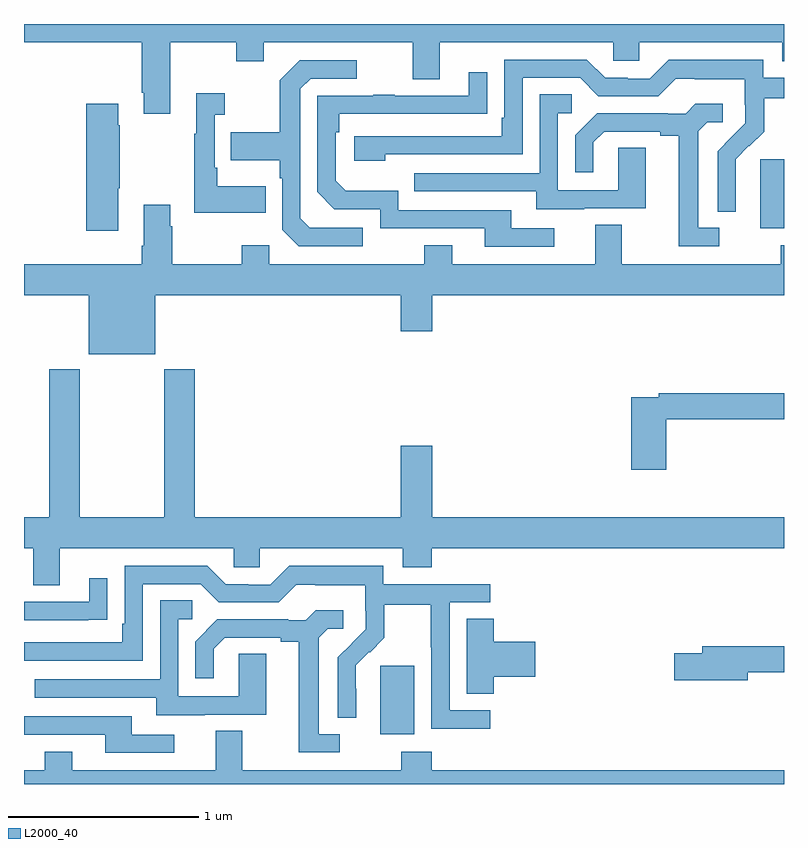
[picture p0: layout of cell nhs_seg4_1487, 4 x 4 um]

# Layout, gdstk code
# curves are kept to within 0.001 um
import gdstk
lib = gdstk.Library(unit=1e-6, precision=1e-09)
def R(c, l, rs):  # rectangles x0, y0, x1, y1
    for r in rs: c.add(gdstk.rectangle(r[:2], r[2:], *l))
def P(c, l, *ps):  # polygons
    for p in ps: c.add(gdstk.Polygon(p, *l))
L2000_40 = (2000, 40)

nhs_seg4_1487 = lib.new_cell('nhs_seg4_1487')
R(nhs_seg4_1487, L2000_40, [(188.876,809.162,189.055,809.523), (190.874,811.826,191,812.187)])
P(nhs_seg4_1487, L2000_40, [(187,812.804),(187.619,812.804),(187.619,812.539),(187.631,812.539),(187.631,812.427),(187.771,812.427),(187.771,812.804),(188.116,812.804),(188.116,812.705),(188.263,812.705),(188.263,812.804),(189.047,812.804),(189.047,812.61),(189.187,812.61),(189.187,812.804),(190.101,812.804),(190.101,812.706),(190.239,812.706),(190.239,812.804),(190.991,812.804),(190.991,812.705),(191,812.705),(191,812.9),(187,812.9)],
  [(190.746,812.066),(190.745,812.189),(190.815,812.259),(190.818,812.256),(190.895,812.333),(190.895,812.508),(191,812.508),(191,812.616),(190.89,812.616),(190.89,812.713),(190.393,812.713),(190.293,812.613),(190.178,812.613),(190.178,812.616),(190.059,812.616),(189.963,812.712),(189.528,812.712),(189.528,812.407),(189.515,812.407),(189.515,812.31),(188.739,812.31),(188.739,812.18),(188.9,812.18),(188.9,812.214),(189.624,812.214),(189.624,812.616),(189.927,812.616),(190.023,812.52),(190.338,812.52),(190.431,812.613),(190.531,812.613),(190.531,812.609),(190.794,812.609),(190.794,812.475),(190.796,812.475),(190.796,812.378),(190.65,812.23),(190.65,811.912),(190.746,811.912)],
  [(188.782,811.827),(188.505,811.827),(188.454,811.878),(188.454,812.559),(188.508,812.613),(188.752,812.613),(188.752,812.709),(188.451,812.709),(188.346,812.603),(188.346,812.331),(188.089,812.331),(188.089,812.183),(188.346,812.183),(188.346,812.087),(188.358,812.087),(188.358,811.818),(188.445,811.731),(188.782,811.731)],
  [(189.79,811.824),(189.565,811.824),(189.565,811.92),(188.97,811.92),(188.97,812.023),(188.693,812.023),(188.64,812.076),(188.64,812.33),(188.66,812.33),(188.66,812.427),(189.437,812.428),(189.437,812.647),(189.341,812.647),(189.341,812.523),(188.951,812.523),(188.951,812.528),(188.839,812.528),(188.839,812.523),(188.544,812.523),(188.544,812.016),(188.634,811.926),(188.874,811.926),(188.874,811.824),(189.425,811.824),(189.425,811.728),(189.79,811.728)],
  [(188.273,812.047),(188.017,812.047),(188.017,812.143),(188.004,812.143),(188.004,812.423),(188.056,812.423),(188.056,812.536),(187.907,812.536),(187.907,812.323),(187.896,812.323),(187.896,811.907),(188.273,811.907)],
  [(189.949,811.929),(190.273,811.929),(190.273,812.249),(190.128,812.249),(190.128,812.025),(189.81,812.025),(189.81,812.43),(189.883,812.43),(189.883,812.531),(189.714,812.531),(189.714,812.115),(189.055,812.115),(189.055,812.019),(189.695,812.019),(189.695,811.925),(189.949,811.925)],
  [(187.495,812.035),(187.503,812.035),(187.503,812.366),(187.495,812.366),(187.495,812.479),(187.328,812.479),(187.328,811.812),(187.495,811.812)],
  [(190.66,811.827),(190.549,811.827),(190.549,812.335),(190.596,812.382),(190.678,812.382),(190.678,812.479),(190.534,812.479),(190.482,812.427),(190.388,812.427),(190.388,812.43),(190.016,812.43),(189.9,812.314),(189.9,812.121),(189.997,812.121),(189.997,812.277),(190.054,812.334),(190.349,812.334),(190.349,812.312),(190.445,812.312),(190.445,811.731),(190.66,811.731)],
  [(187.69,811.472),(188.984,811.472),(188.984,811.284),(189.148,811.284),(189.148,811.472),(191,811.472),(191,811.735),(190.984,811.735),(190.984,811.636),(190.147,811.636),(190.147,811.844),(190.007,811.844),(190.007,811.636),(189.253,811.636),(189.253,811.735),(189.106,811.735),(189.106,811.636),(188.292,811.636),(188.292,811.735),(188.146,811.735),(188.146,811.636),(187.779,811.636),(187.779,811.835),(187.771,811.835),(187.771,811.948),(187.631,811.948),(187.631,811.732),(187.619,811.732),(187.619,811.636),(187,811.636),(187,811.472),(187.34,811.472),(187.34,811.163),(187.69,811.163)],
  [(187.189,810.14),(188.103,810.14),(188.103,810.042),(188.241,810.042),(188.241,810.14),(188.993,810.14),(188.993,810.041),(189.146,810.041),(189.146,810.14),(191,810.14),(191,810.304),(189.148,810.304),(189.148,810.679),(188.984,810.679),(188.984,810.304),(187.898,810.304),(187.898,811.084),(187.738,811.084),(187.738,810.304),(187.293,810.304),(187.293,811.084),(187.133,811.084),(187.133,810.304),(187,810.304),(187,810.14),(187.049,810.14),(187.049,809.946),(187.189,809.946)],
  [(190.379,810.82),(191,810.82),(191,810.956),(190.342,810.956),(190.342,810.936),(190.196,810.936),(190.196,810.555),(190.379,810.555)],
  [(189.454,809.289),(189.24,809.289),(189.24,809.856),(189.454,809.856),(189.454,809.952),(188.892,809.952),(188.892,810.049),(188.395,810.049),(188.295,809.949),(188.18,809.949),(188.18,809.952),(188.061,809.952),(187.965,810.048),(187.53,810.048),(187.53,809.743),(187.517,809.743),(187.517,809.646),(187,809.646),(187,809.55),(187.626,809.55),(187.626,809.952),(187.929,809.952),(188.025,809.856),(188.34,809.856),(188.433,809.949),(188.533,809.949),(188.533,809.945),(188.796,809.945),(188.796,809.811),(188.798,809.811),(188.798,809.714),(188.652,809.566),(188.652,809.248),(188.748,809.248),(188.747,809.525),(188.817,809.595),(188.82,809.592),(188.897,809.669),(188.897,809.844),(189.142,809.844),(189.142,809.62),(189.144,809.62),(189.144,809.191),(189.454,809.191)],
  [(187.337,809.764),(187.439,809.764),(187.439,809.983),(187.343,809.983),(187.343,809.859),(187,809.859),(187,809.763),(187.337,809.763)],
  [(187.951,809.265),(188.275,809.265),(188.275,809.585),(188.13,809.585),(188.13,809.361),(187.812,809.361),(187.812,809.766),(187.885,809.766),(187.885,809.867),(187.716,809.867),(187.716,809.451),(187.057,809.451),(187.057,809.355),(187.697,809.355),(187.697,809.261),(187.951,809.261)],
  [(188.662,809.163),(188.551,809.163),(188.551,809.671),(188.598,809.718),(188.68,809.718),(188.68,809.815),(188.536,809.815),(188.484,809.763),(188.39,809.763),(188.39,809.766),(188.018,809.766),(187.902,809.65),(187.902,809.457),(187.999,809.457),(187.999,809.613),(188.056,809.67),(188.351,809.67),(188.351,809.648),(188.447,809.648),(188.447,809.067),(188.662,809.067)],
  [(189.473,809.465),(189.691,809.465),(189.691,809.648),(189.473,809.648),(189.473,809.771),(189.329,809.771),(189.329,809.374),(189.473,809.374)],
  [(190.81,809.488),(191,809.488),(191,809.624),(190.571,809.624),(190.571,809.588),(190.422,809.588),(190.422,809.446),(190.81,809.446)],
  [(187.792,809.16),(187.567,809.16),(187.567,809.256),(187,809.256),(187,809.16),(187.427,809.16),(187.427,809.064),(187.792,809.064)],
  [(191,808.972),(189.146,808.972),(189.146,809.071),(188.986,809.071),(188.986,808.972),(188.149,808.972),(188.149,809.18),(188.009,809.18),(188.009,808.972),(187.255,808.972),(187.255,809.071),(187.108,809.071),(187.108,808.972),(187,808.972),(187,808.9),(191,808.9)])

lib.write_gds('nhs_seg4_1487.gds')
